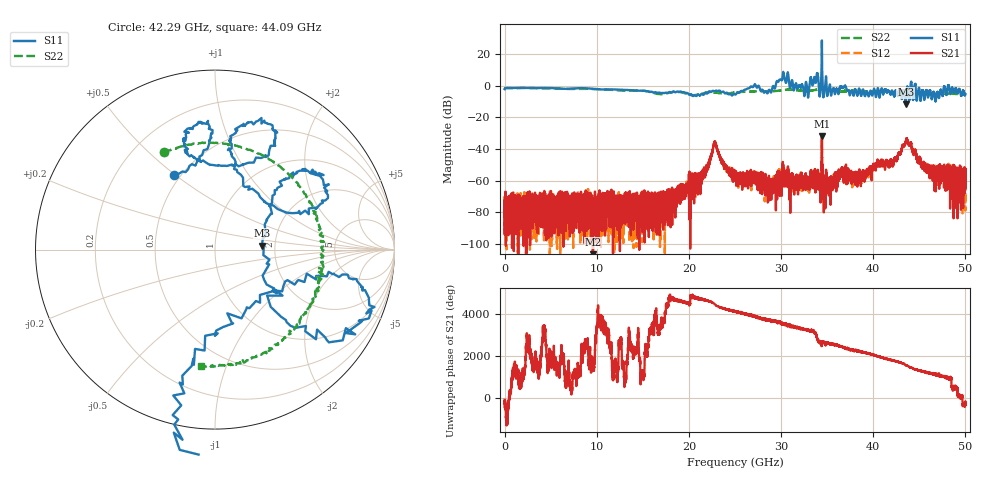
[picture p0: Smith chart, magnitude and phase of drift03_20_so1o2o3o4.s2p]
!Created with skrf (http://scikit-rf.org).
# Hz S RI R 50.0
!freq ReS11 ImS11 ReS21 ImS21 ReS12 ImS12 ReS22 ImS22
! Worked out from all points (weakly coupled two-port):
!   10000 points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, 5.3 MHz to 50 GHz, reference 50 ohm
!   highest |S21| = -31.74 dB at 34.43 GHz (marker M1); lowest = -108.7 dB at 9.6 GHz (marker M2)
!   lowest |S11| = -11.6 dB at 43.52 GHz (marker M3), VSWR 1.71, Z = 85.2 + j4.17 ohm
!   |S11| at or under -10 dB: 43.49381 GHz to 43.5537 GHz (59.9 MHz wide, 0.138 % of centre)
!   |S22| runs from -6.0 to -1.3 dB; largest |S21 - S12| = 0.012
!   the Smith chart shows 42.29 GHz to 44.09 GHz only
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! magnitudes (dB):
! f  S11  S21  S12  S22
! 5.3 MHz  -2.1  -73.9  -78.1  -2.1
! 8.34 GHz  -1.5  -81.6  -76.3  -1.9
! 9.6 GHz  -1.9  -108.7  -76.3  -2.0
! 16.67 GHz  -4.4  -78.7  -76.0  -5.2
! 21.16 GHz  -6.0  -57.6  -58.8  -5.4
! 22.82 GHz  -3.4  -35.1  -35.5  -4.5
! 25.01 GHz  -5.5  -56.7  -57.0  -4.3
! 27.01 GHz  -0.5  -58.4  -61.5  -3.6
! 28.89 GHz  -4.2  -61.0  -62.5  -3.5
! 30.14 GHz  4.4  -56.9  -56.0  -2.8
! 32.74 GHz  2.0  -58.2  -57.2  -3.4
! 33.34 GHz  2.6  -55.1  -57.6  -2.9
! 33.82 GHz  3.9  -59.2  -58.2  -2.5
! 34.43 GHz  28.7  -31.7  -34.4  -2.3
! 35.22 GHz  -1.3  -65.6  -66.8  -2.6
! 36.49 GHz  -0.4  -53.9  -55.6  -3.6
! 38.14 GHz  -3.2  -56.9  -59.8  -2.9
! 41.67 GHz  -3.2  -49.6  -50.6  -3.7
! 43.52 GHz  -11.6  -35.5  -35.5  -4.2
! 46.21 GHz  -3.3  -54.9  -52.6  -5.6
! 49.58 GHz  -6.2  -52.6  -61.7  -5.0
! 50 GHz  -5.3  -52.7  -61.3  -5.0
